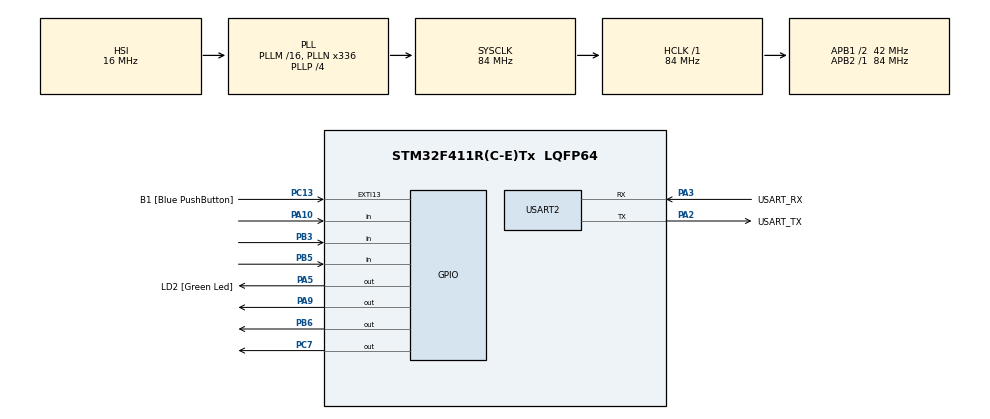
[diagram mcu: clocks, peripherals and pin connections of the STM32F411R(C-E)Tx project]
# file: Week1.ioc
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Mcu.Family=STM32F4
Mcu.Name=STM32F411R(C-E)Tx
Mcu.Package=LQFP64
NVIC.PriorityGroup=NVIC_PRIORITYGROUP_0
PA10.Signal=GPIO_Input
PA13.GPIO_Label=TMS
PA13.Mode=Serial_Wire
PA13.Signal=SYS_JTMS-SWDIO
PA14.GPIO_Label=TCK
PA14.Mode=Serial_Wire
PA14.Signal=SYS_JTCK-SWCLK
PA2.GPIO_Label=USART_TX
PA2.Mode=Asynchronous
PA2.Signal=USART2_TX
PA3.GPIO_Label=USART_RX
PA3.Mode=Asynchronous
PA3.Signal=USART2_RX
PA5.GPIO_Label=LD2 [Green Led]
PA5.Signal=GPIO_Output
PA9.Signal=GPIO_Output
PB3.Signal=GPIO_Input
PB5.Signal=GPIO_Input
PB6.Signal=GPIO_Output
PC13-ANTI_TAMP.GPIO_Label=B1 [Blue PushButton]
PC13-ANTI_TAMP.GPIO_ModeDefaultEXTI=GPIO_MODE_IT_FALLING
PC13-ANTI_TAMP.Signal=GPXTI13
PC14-OSC32_IN.Mode=LSE-External-Oscillator
PC14-OSC32_IN.Signal=RCC_OSC32_IN
PC15-OSC32_OUT.Mode=LSE-External-Oscillator
PC15-OSC32_OUT.Signal=RCC_OSC32_OUT
PC7.Signal=GPIO_Output
PH0\ -\ OSC_IN.Mode=HSE-External-Clock-Source
PH0\ -\ OSC_IN.Signal=RCC_OSC_IN
PH1\ -\ OSC_OUT.Mode=HSE-External-Clock-Source
PH1\ -\ OSC_OUT.Signal=RCC_OSC_OUT
ProjectManager.HeapSize=0x200
ProjectManager.StackSize=0x400
ProjectManager.TargetToolchain=STM32CubeIDE
RCC.48MHZClocksFreq_Value=84000000
RCC.AHBFreq_Value=84000000
RCC.APB1CLKDivider=RCC_HCLK_DIV2
RCC.APB1Freq_Value=42000000
RCC.APB1TimFreq_Value=84000000
RCC.APB2Freq_Value=84000000
RCC.APB2TimFreq_Value=84000000
RCC.CortexFreq_Value=84000000
RCC.FLatency-AdvancedSettings=FLASH_LATENCY_2
RCC.HCLKFreq_Value=84000000
RCC.HSE_VALUE=8000000
RCC.HSI_VALUE=16000000
RCC.PLLN=336
RCC.PLLP=RCC_PLLP_DIV4
RCC.SYSCLKFreq_VALUE=84000000
RCC.SYSCLKSource=RCC_SYSCLKSOURCE_PLLCLK
RCC.VCOOutputFreq_Value=336000000
USART2.VirtualMode=VM_ASYNC
board=NUCLEO-F411RE

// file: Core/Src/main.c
/* USER CODE BEGIN Header */
/**
  ******************************************************************************
  * @file           : main.c
  * @brief          : Main program body
  ******************************************************************************
  * @attention
  *
  * <h2><center>&copy; Copyright (c) 2021 STMicroelectronics.
  * All rights reserved.</center></h2>
  *
  * This software component is licensed by ST under BSD 3-Clause license,
  * the "License"; You may not use this file except in compliance with the
  * License. You may obtain a copy of the License at:
  *                        opensource.org/licenses/BSD-3-Clause
  *
  ******************************************************************************
  */
/* USER CODE END Header */
#include "main.h"

UART_HandleTypeDef huart2;

void SystemClock_Config(void);
static void MX_GPIO_Init(void);
static void MX_USART2_UART_Init(void);

int main(void)
{

  /* MCU Configuration--------------------------------------------------------*/

  /* Reset of all peripherals, Initializes the Flash interface and the Systick. */
  HAL_Init();

  /* Configure the system clock */
  SystemClock_Config();

  /* Initialize all configured peripherals */
  MX_GPIO_Init();
  MX_USART2_UART_Init();
  /* USER CODE BEGIN 2 */

  GPIO_PinState sw1[2];
  GPIO_PinState sw2[2];
  GPIO_PinState sw3[2];
  uint32_t delaysw1 = 0;
  uint32_t delaysw2 = 0;
  uint32_t delaysw3 = 0;
  uint32_t delayled1 = 0;
  uint32_t delayled3 = 0;
  uint32_t Hz1 = 2000;
  uint32_t Hz2 = 1000;
  uint32_t Hz3 = 500;
  uint32_t Hz4 = 330;
  uint32_t delay = Hz1;
  uint32_t delay30 = 1500;
  uint8_t sw1c = 0;
  uint8_t sw3c = 0;
  /* USER CODE END 2 */

  /* Infinite loop */
  /* USER CODE BEGIN WHILE */
  while (1)
  {
	  sw1[0]=HAL_GPIO_ReadPin(GPIOA, GPIO_PIN_10);
	  sw2[0]=HAL_GPIO_ReadPin(GPIOB, GPIO_PIN_3);
	  sw3[0]=HAL_GPIO_ReadPin(GPIOB, GPIO_PIN_5);
	  if(sw1[1]==1 && sw1[0]==0 && HAL_GetTick()-delaysw1 >= 200){
		  delaysw1 = HAL_GetTick();
		  if(delay == Hz1 && sw1c == 0){
			  sw1c = 1;
			  delay = Hz2;
		  }else if(delay == Hz2 && sw1c == 0){
			  sw1c = 1;
			  delay = Hz3;
		  }else if(delay == Hz3 && sw1c == 0){
			  sw1c = 1;
			  delay = Hz4;
		  }else if(delay == Hz4 && sw1c == 0){
			  sw1c = 1;
			  delay = Hz1;
		  }
		  sw1c = 0;
	  }
	  sw1[1] = sw1[0];
	  if(sw2[1]==1 && sw2[0]==0 && HAL_GetTick()-delaysw2 >= 200){
	  		delaysw2 = HAL_GetTick();
	  		if(HAL_GPIO_ReadPin(GPIOC, GPIO_PIN_7)==0){
	  			HAL_GPIO_WritePin(GPIOC, GPIO_PIN_7, 1);
	  		}else{
	  			HAL_GPIO_WritePin(GPIOC, GPIO_PIN_7, 0);
	  		}
	  }
	  sw2[1] = sw2[0];
	  if(sw2[1]==1 && sw2[0]==0 && HAL_GetTick()-delaysw2 >= 200){
	  	  		delaysw2 = HAL_GetTick();
	  	  		if(HAL_GPIO_ReadPin(GPIOC, GPIO_PIN_7)==0){
	  	  			HAL_GPIO_WritePin(GPIOC, GPIO_PIN_7, 1);
	  	  		}else{
	  	  			HAL_GPIO_WritePin(GPIOC, GPIO_PIN_7, 0);
	  	  		}
	  	  }
	  sw2[1] = sw2[0];
	  if(sw3[1]==1 && sw3[0]==0 && HAL_GetTick()-delaysw3 >= 200){
		  delaysw3 = HAL_GetTick();
		  if(delay30 == 500 && sw3c == 0){
		  		sw3c = 1;
		  		delay30 = 1500;
		  }else if(delay30 == 1500 && sw3c == 0){
		  		sw3c = 1;
		  		delay30 = 500;
		  }
		  sw3c = 0;
	  }
	  sw3[1] = sw3[0];
	  if(HAL_GetTick() - delayled1 >= delay){
	  	if(HAL_GPIO_ReadPin(GPIOA, GPIO_PIN_9)==0){
	  		HAL_GPIO_WritePin(GPIOA, GPIO_PIN_9, 1);
	  	}else{
	  		HAL_GPIO_WritePin(GPIOA, GPIO_PIN_9, 0);
	  	}
	  		delayled1 = HAL_GetTick();
	  }
	  if(delay30 == 1500 && HAL_GetTick() - delayled3 >= 500 && HAL_GPIO_ReadPin(GPIOB, GPIO_PIN_6)== 0){
	  	  HAL_GPIO_WritePin(GPIOB, GPIO_PIN_6, 1);
	  	delayled3 = HAL_GetTick();
	  }else if(delay30 == 1500 && HAL_GetTick() - delayled3 >= 1500 && HAL_GPIO_ReadPin(GPIOB, GPIO_PIN_6) == 1){
		  HAL_GPIO_WritePin(GPIOB, GPIO_PIN_6, 0);
		  delayled3 = HAL_GetTick();
	  }if(delay30 == 500 && HAL_GetTick() - delayled3 >= 500 && HAL_GPIO_ReadPin(GPIOB, GPIO_PIN_6)== 1){
	  	  HAL_GPIO_WritePin(GPIOB, GPIO_PIN_6, 0);
	  	delayled3 = HAL_GetTick();
	  }else if(delay30 == 500 && HAL_GetTick() - delayled3 >= 1500 && HAL_GPIO_ReadPin(GPIOB, GPIO_PIN_6) == 0){
		  HAL_GPIO_WritePin(GPIOB, GPIO_PIN_6, 1);
		  delayled3 = HAL_GetTick();
	  }
    /* USER CODE END WHILE */

  }
}

void SystemClock_Config(void)
{
  RCC_OscInitTypeDef RCC_OscInitStruct = {0};
  RCC_ClkInitTypeDef RCC_ClkInitStruct = {0};

  /** Configure the main internal regulator output voltage
  */
  __HAL_RCC_PWR_CLK_ENABLE();
  __HAL_PWR_VOLTAGESCALING_CONFIG(PWR_REGULATOR_VOLTAGE_SCALE1);
  /** Initializes the RCC Oscillators according to the specified parameters
  * in the RCC_OscInitTypeDef structure.
  */
  RCC_OscInitStruct.OscillatorType = RCC_OSCILLATORTYPE_HSI;
  RCC_OscInitStruct.HSIState = RCC_HSI_ON;
  RCC_OscInitStruct.HSICalibrationValue = RCC_HSICALIBRATION_DEFAULT;
  RCC_OscInitStruct.PLL.PLLState = RCC_PLL_ON;
  RCC_OscInitStruct.PLL.PLLSource = RCC_PLLSOURCE_HSI;
  RCC_OscInitStruct.PLL.PLLM = 16;
  RCC_OscInitStruct.PLL.PLLN = 336;
  RCC_OscInitStruct.PLL.PLLP = RCC_PLLP_DIV4;
  RCC_OscInitStruct.PLL.PLLQ = 4;
  if (HAL_RCC_OscConfig(&RCC_OscInitStruct) != HAL_OK)
  {
    Error_Handler();
  }
  /** Initializes the CPU, AHB and APB buses clocks
  */
  RCC_ClkInitStruct.ClockType = RCC_CLOCKTYPE_HCLK|RCC_CLOCKTYPE_SYSCLK
                              |RCC_CLOCKTYPE_PCLK1|RCC_CLOCKTYPE_PCLK2;
  RCC_ClkInitStruct.SYSCLKSource = RCC_SYSCLKSOURCE_PLLCLK;
  RCC_ClkInitStruct.AHBCLKDivider = RCC_SYSCLK_DIV1;
  RCC_ClkInitStruct.APB1CLKDivider = RCC_HCLK_DIV2;
  RCC_ClkInitStruct.APB2CLKDivider = RCC_HCLK_DIV1;

  if (HAL_RCC_ClockConfig(&RCC_ClkInitStruct, FLASH_LATENCY_2) != HAL_OK)
  {
    Error_Handler();
  }
}

static void MX_USART2_UART_Init(void)
{

  huart2.Instance = USART2;
  huart2.Init.BaudRate = 115200;
  huart2.Init.WordLength = UART_WORDLENGTH_8B;
  huart2.Init.StopBits = UART_STOPBITS_1;
  huart2.Init.Parity = UART_PARITY_NONE;
  huart2.Init.Mode = UART_MODE_TX_RX;
  huart2.Init.HwFlowCtl = UART_HWCONTROL_NONE;
  huart2.Init.OverSampling = UART_OVERSAMPLING_16;
  if (HAL_UART_Init(&huart2) != HAL_OK)
  {
    Error_Handler();
  }

}

static void MX_GPIO_Init(void)
{
  GPIO_InitTypeDef GPIO_InitStruct = {0};

  /* GPIO Ports Clock Enable */
  __HAL_RCC_GPIOC_CLK_ENABLE();
  __HAL_RCC_GPIOH_CLK_ENABLE();
  __HAL_RCC_GPIOA_CLK_ENABLE();
  __HAL_RCC_GPIOB_CLK_ENABLE();

  /*Configure GPIO pin Output Level */
  HAL_GPIO_WritePin(GPIOA, LD2_Pin|GPIO_PIN_9, GPIO_PIN_RESET);

  /*Configure GPIO pin Output Level */
  HAL_GPIO_WritePin(GPIOC, GPIO_PIN_7, GPIO_PIN_RESET);

  /*Configure GPIO pin Output Level */
  HAL_GPIO_WritePin(GPIOB, GPIO_PIN_6, GPIO_PIN_RESET);

  /*Configure GPIO pin : B1_Pin */
  GPIO_InitStruct.Pin = B1_Pin;
  GPIO_InitStruct.Mode = GPIO_MODE_IT_FALLING;
  GPIO_InitStruct.Pull = GPIO_NOPULL;
  HAL_GPIO_Init(B1_GPIO_Port, &GPIO_InitStruct);

  /*Configure GPIO pins : LD2_Pin PA9 */
  GPIO_InitStruct.Pin = LD2_Pin|GPIO_PIN_9;
  GPIO_InitStruct.Mode = GPIO_MODE_OUTPUT_PP;
  GPIO_InitStruct.Pull = GPIO_NOPULL;
  GPIO_InitStruct.Speed = GPIO_SPEED_FREQ_LOW;
  HAL_GPIO_Init(GPIOA, &GPIO_InitStruct);

  /*Configure GPIO pin : PC7 */
  GPIO_InitStruct.Pin = GPIO_PIN_7;
  GPIO_InitStruct.Mode = GPIO_MODE_OUTPUT_PP;
  GPIO_InitStruct.Pull = GPIO_NOPULL;
  GPIO_InitStruct.Speed = GPIO_SPEED_FREQ_LOW;
  HAL_GPIO_Init(GPIOC, &GPIO_InitStruct);

  /*Configure GPIO pin : PA10 */
  GPIO_InitStruct.Pin = GPIO_PIN_10;
  GPIO_InitStruct.Mode = GPIO_MODE_INPUT;
  GPIO_InitStruct.Pull = GPIO_NOPULL;
  HAL_GPIO_Init(GPIOA, &GPIO_InitStruct);

  /*Configure GPIO pins : PB3 PB5 */
  GPIO_InitStruct.Pin = GPIO_PIN_3|GPIO_PIN_5;
  GPIO_InitStruct.Mode = GPIO_MODE_INPUT;
  GPIO_InitStruct.Pull = GPIO_NOPULL;
  HAL_GPIO_Init(GPIOB, &GPIO_InitStruct);

  /*Configure GPIO pin : PB6 */
  GPIO_InitStruct.Pin = GPIO_PIN_6;
  GPIO_InitStruct.Mode = GPIO_MODE_OUTPUT_PP;
  GPIO_InitStruct.Pull = GPIO_NOPULL;
  GPIO_InitStruct.Speed = GPIO_SPEED_FREQ_LOW;
  HAL_GPIO_Init(GPIOB, &GPIO_InitStruct);

}

void Error_Handler(void)
{
  __disable_irq();
  while (1)
  {
  }
}

/************************ (C) COPYRIGHT STMicroelectronics *****END OF FILE****/
